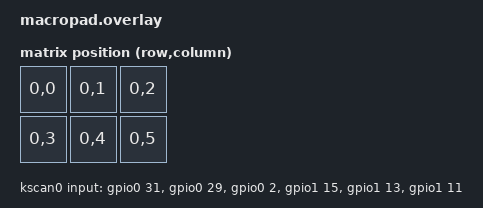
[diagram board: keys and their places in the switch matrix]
#include <physical_layouts.dtsi>
#include <dt-bindings/zmk/matrix_transform.h>

/ {
    chosen {
        zmk,kscan = &kscan0;
        zmk,physical-layout = &macropad_layout;
    };

    macropad_layout: macropad_layout {
        compatible = "zmk,physical-layout";
        display-name = "Macro Pad";
        transform = <&default_transform>;
        kscan = <&kscan0>;
        keys
            = <&key_physical_attrs 100 100   0   0 0 0 0>
            , <&key_physical_attrs 100 100 100   0 0 0 0>
            , <&key_physical_attrs 100 100 200   0 0 0 0>
            , <&key_physical_attrs 100 100   0 100 0 0 0>
            , <&key_physical_attrs 100 100 100 100 0 0 0>
            , <&key_physical_attrs 100 100 200 100 0 0 0>
            ;
    };

    default_transform: keymap_transform_0 {
        compatible = "zmk,matrix-transform";
        columns = <6>;
        rows = <1>;
        map = <
            RC(0,0) RC(0,1) RC(0,2) RC(0,3) RC(0,4) RC(0,5)
        >;
    };

    kscan0: kscan {
        compatible = "zmk,kscan-gpio-direct";
        wakeup-source;
        input-gpios
            = <&gpio0 31 (GPIO_ACTIVE_LOW | GPIO_PULL_UP)>
            , <&gpio0 29 (GPIO_ACTIVE_LOW | GPIO_PULL_UP)>
            , <&gpio0  2 (GPIO_ACTIVE_LOW | GPIO_PULL_UP)>
            , <&gpio1 15 (GPIO_ACTIVE_LOW | GPIO_PULL_UP)>
            , <&gpio1 13 (GPIO_ACTIVE_LOW | GPIO_PULL_UP)>
            , <&gpio1 11 (GPIO_ACTIVE_LOW | GPIO_PULL_UP)>
            ;
    };
};
